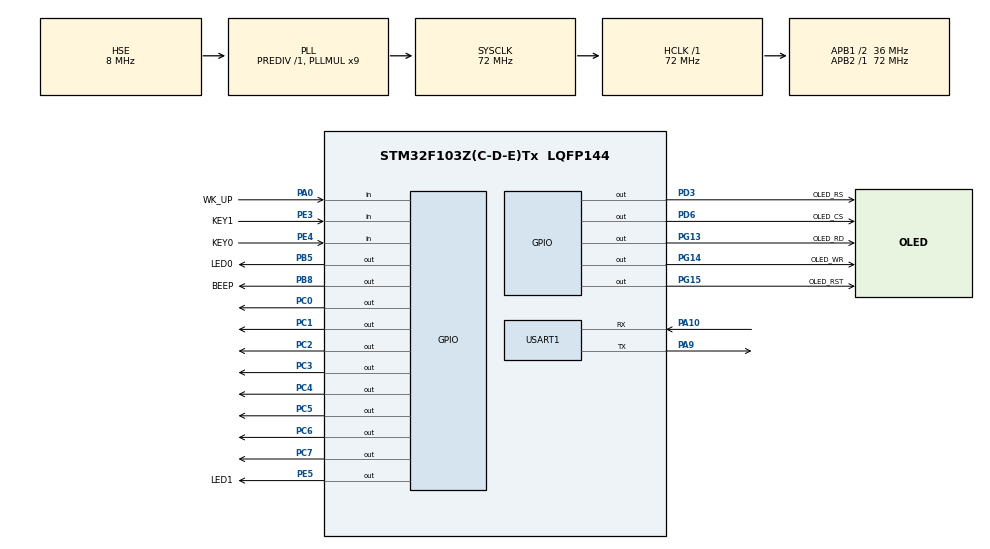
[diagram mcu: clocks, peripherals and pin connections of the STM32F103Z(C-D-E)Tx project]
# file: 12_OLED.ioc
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Mcu.Family=STM32F1
Mcu.Name=STM32F103Z(C-D-E)Tx
Mcu.Package=LQFP144
NVIC.PriorityGroup=NVIC_PRIORITYGROUP_2
NVIC.USART1_IRQn=true\:2\:2\:true\:false\:true\:true\:true\:true
OSC_IN.Mode=HSE-External-Oscillator
OSC_IN.Signal=RCC_OSC_IN
OSC_OUT.Mode=HSE-External-Oscillator
OSC_OUT.Signal=RCC_OSC_OUT
PA0-WKUP.GPIO_Label=WK_UP
PA0-WKUP.GPIO_PuPd=GPIO_PULLDOWN
PA0-WKUP.Signal=GPIO_Input
PA10.Mode=Asynchronous
PA10.Signal=USART1_RX
PA13.Mode=Serial_Wire
PA13.Signal=SYS_JTMS-SWDIO
PA14.Mode=Serial_Wire
PA14.Signal=SYS_JTCK-SWCLK
PA9.Mode=Asynchronous
PA9.Signal=USART1_TX
PB5.GPIO_Label=LED0
PB5.GPIO_PuPd=GPIO_PULLUP
PB5.GPIO_Speed=GPIO_SPEED_FREQ_HIGH
PB5.PinState=GPIO_PIN_SET
PB5.Signal=GPIO_Output
PB8.GPIO_Label=BEEP
PB8.GPIO_ModeDefaultOutputPP=GPIO_MODE_OUTPUT_PP
PB8.GPIO_PuPd=GPIO_PULLDOWN
PB8.GPIO_Speed=GPIO_SPEED_FREQ_HIGH
PB8.PinState=GPIO_PIN_RESET
PB8.Signal=GPIO_Output
PC0.GPIO_PuPd=GPIO_PULLUP
PC0.GPIO_Speed=GPIO_SPEED_FREQ_HIGH
PC0.PinState=GPIO_PIN_SET
PC0.Signal=GPIO_Output
PC1.GPIO_PuPd=GPIO_PULLUP
PC1.GPIO_Speed=GPIO_SPEED_FREQ_HIGH
PC1.PinState=GPIO_PIN_SET
PC1.Signal=GPIO_Output
PC14-OSC32_IN.Mode=LSE-External-Oscillator
PC14-OSC32_IN.Signal=RCC_OSC32_IN
PC15-OSC32_OUT.Mode=LSE-External-Oscillator
PC15-OSC32_OUT.Signal=RCC_OSC32_OUT
PC2.GPIO_PuPd=GPIO_PULLUP
PC2.GPIO_Speed=GPIO_SPEED_FREQ_HIGH
PC2.PinState=GPIO_PIN_SET
PC2.Signal=GPIO_Output
PC3.GPIO_PuPd=GPIO_PULLUP
PC3.GPIO_Speed=GPIO_SPEED_FREQ_HIGH
PC3.PinState=GPIO_PIN_SET
PC3.Signal=GPIO_Output
PC4.GPIO_PuPd=GPIO_PULLUP
PC4.GPIO_Speed=GPIO_SPEED_FREQ_HIGH
PC4.PinState=GPIO_PIN_SET
PC4.Signal=GPIO_Output
PC5.GPIO_PuPd=GPIO_PULLUP
PC5.GPIO_Speed=GPIO_SPEED_FREQ_HIGH
PC5.PinState=GPIO_PIN_SET
PC5.Signal=GPIO_Output
PC6.GPIO_PuPd=GPIO_PULLUP
PC6.GPIO_Speed=GPIO_SPEED_FREQ_HIGH
PC6.PinState=GPIO_PIN_SET
PC6.Signal=GPIO_Output
PC7.GPIO_PuPd=GPIO_PULLUP
PC7.GPIO_Speed=GPIO_SPEED_FREQ_HIGH
PC7.PinState=GPIO_PIN_SET
PC7.Signal=GPIO_Output
PD3.GPIO_Label=OLED_RS
PD3.GPIO_PuPd=GPIO_PULLUP
PD3.GPIO_Speed=GPIO_SPEED_FREQ_HIGH
PD3.PinState=GPIO_PIN_SET
PD3.Signal=GPIO_Output
PD6.GPIO_Label=OLED_CS
PD6.GPIO_PuPd=GPIO_PULLUP
PD6.GPIO_Speed=GPIO_SPEED_FREQ_HIGH
PD6.PinState=GPIO_PIN_SET
PD6.Signal=GPIO_Output
PE3.GPIO_Label=KEY1
PE3.GPIO_PuPd=GPIO_PULLUP
PE3.Signal=GPIO_Input
PE4.GPIO_Label=KEY0
PE4.GPIO_PuPd=GPIO_PULLUP
PE4.Signal=GPIO_Input
PE5.GPIO_Label=LED1
PE5.GPIO_PuPd=GPIO_PULLUP
PE5.GPIO_Speed=GPIO_SPEED_FREQ_HIGH
PE5.PinState=GPIO_PIN_SET
PE5.Signal=GPIO_Output
PG13.GPIO_Label=OLED_RD
PG13.GPIO_PuPd=GPIO_PULLUP
PG13.GPIO_Speed=GPIO_SPEED_FREQ_HIGH
PG13.PinState=GPIO_PIN_SET
PG13.Signal=GPIO_Output
PG14.GPIO_Label=OLED_WR
PG14.GPIO_PuPd=GPIO_PULLUP
PG14.GPIO_Speed=GPIO_SPEED_FREQ_HIGH
PG14.PinState=GPIO_PIN_SET
PG14.Signal=GPIO_Output
PG15.GPIO_Label=OLED_RST
PG15.GPIO_PuPd=GPIO_PULLUP
PG15.GPIO_Speed=GPIO_SPEED_FREQ_HIGH
PG15.PinState=GPIO_PIN_SET
PG15.Signal=GPIO_Output
ProjectManager.HeapSize=0x200
ProjectManager.StackSize=0x400
ProjectManager.TargetToolchain=STM32CubeIDE
RCC.AHBFreq_Value=72000000
RCC.APB1CLKDivider=RCC_HCLK_DIV2
RCC.APB1Freq_Value=36000000
RCC.APB1TimFreq_Value=72000000
RCC.APB2Freq_Value=72000000
RCC.APB2TimFreq_Value=72000000
RCC.HCLKFreq_Value=72000000
RCC.PLLMUL=RCC_PLL_MUL9
RCC.PLLSourceVirtual=RCC_PLLSOURCE_HSE
RCC.SYSCLKFreq_VALUE=72000000
RCC.SYSCLKSource=RCC_SYSCLKSOURCE_PLLCLK
RCC.USBFreq_Value=72000000
USART1.VirtualMode=VM_ASYNC
board=custom

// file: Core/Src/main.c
/* USER CODE BEGIN Header */

/* USER CODE END Header */
#include "main.h"
#include "usart.h"
#include "gpio.h"

/* USER CODE BEGIN Includes */
#include "../../BSP/LED/led.h"
#include "../../BSP/KEY/key.h"
#include "../../BSP/OLED/oled.h"
#include "../../SYSTEM/delay/delay.h"
/* USER CODE END Includes */

void SystemClock_Config(void);

int main(void)
{
  /* USER CODE BEGIN 1 */
    uint8_t t = 0;
  /* USER CODE END 1 */

  /* MCU Configuration--------------------------------------------------------*/

  /* Reset of all peripherals, Initializes the Flash interface and the Systick. */
  HAL_Init();

  /* Configure the system clock */
  SystemClock_Config();

  /* USER CODE BEGIN SysInit */
  delay_init(72);						 	/* 初始化延时函数 */
  /* USER CODE END SysInit */

  /* Initialize all configured peripherals */
  MX_GPIO_Init();
  MX_USART1_UART_Init();
  /* USER CODE BEGIN 2 */
  oled_init();                            	/* 初始化OLED */

  show_str(32, 4, "正点原子", 24, &font_24x24_mis, 1);
  oled_draw_bitmap(0, 0, (uint8_t *)zdyz_32x32_logo, 32, 32 , 1);
  oled_show_string(0, 36, "0.96' OLED TEST", 16);
  oled_show_string(0, 52, "ASCII:", 12);
  oled_show_string(64, 52, "CODE:", 12);
  oled_refresh_gram();                    	/* 更新显示到OLED */
  t = ' ';
  /* USER CODE END 2 */

  /* Infinite loop */
  /* USER CODE BEGIN WHILE */
  while (1)
  {
      oled_show_char(36, 52, t, 12, 1);   /* 显示ASCII字符 */
      oled_show_num(94, 52, t, 3, 12);    /* 显示ASCII字符的码值 */
      oled_refresh_gram();                /* 更新显示到OLED */
      t++;

      if (t > '~')
      {
          t = ' ';
      }

      delay_ms(500);
      LED0_TOGGLE();                   	  /* LED0闪烁 */
    /* USER CODE END WHILE */

  }
}

void SystemClock_Config(void)
{
  RCC_OscInitTypeDef RCC_OscInitStruct = {0};
  RCC_ClkInitTypeDef RCC_ClkInitStruct = {0};

  /** Initializes the RCC Oscillators according to the specified parameters
  * in the RCC_OscInitTypeDef structure.
  */
  RCC_OscInitStruct.OscillatorType = RCC_OSCILLATORTYPE_HSE;
  RCC_OscInitStruct.HSEState = RCC_HSE_ON;
  RCC_OscInitStruct.HSEPredivValue = RCC_HSE_PREDIV_DIV1;
  RCC_OscInitStruct.HSIState = RCC_HSI_ON;
  RCC_OscInitStruct.PLL.PLLState = RCC_PLL_ON;
  RCC_OscInitStruct.PLL.PLLSource = RCC_PLLSOURCE_HSE;
  RCC_OscInitStruct.PLL.PLLMUL = RCC_PLL_MUL9;
  if (HAL_RCC_OscConfig(&RCC_OscInitStruct) != HAL_OK)
  {
    Error_Handler();
  }

  /** Initializes the CPU, AHB and APB buses clocks
  */
  RCC_ClkInitStruct.ClockType = RCC_CLOCKTYPE_HCLK|RCC_CLOCKTYPE_SYSCLK
                              |RCC_CLOCKTYPE_PCLK1|RCC_CLOCKTYPE_PCLK2;
  RCC_ClkInitStruct.SYSCLKSource = RCC_SYSCLKSOURCE_PLLCLK;
  RCC_ClkInitStruct.AHBCLKDivider = RCC_SYSCLK_DIV1;
  RCC_ClkInitStruct.APB1CLKDivider = RCC_HCLK_DIV2;
  RCC_ClkInitStruct.APB2CLKDivider = RCC_HCLK_DIV1;

  if (HAL_RCC_ClockConfig(&RCC_ClkInitStruct, FLASH_LATENCY_2) != HAL_OK)
  {
    Error_Handler();
  }
}

void Error_Handler(void)
{
  __disable_irq();
  while (1)
  {
  }
}
